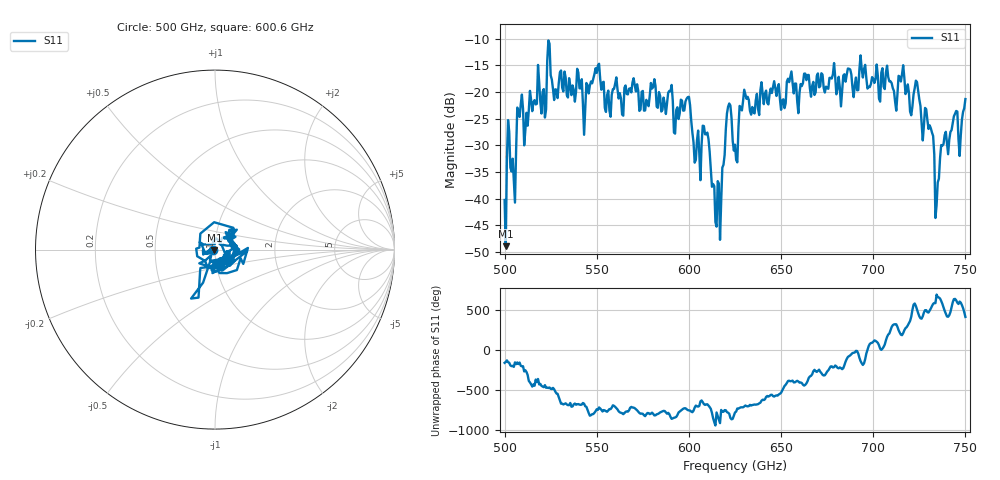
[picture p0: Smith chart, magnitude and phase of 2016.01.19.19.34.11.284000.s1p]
!Created with skrf (http://scikit-rf.org).
# GHz S RI R 50.0
!freq ReS11 ImS11
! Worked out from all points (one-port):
!   401 points, 500 GHz to 750 GHz, reference 50 ohm
!   lowest |S11| = -48.9 dB at 500.6 GHz (marker M1), VSWR 1.01, Z = 49.7 - j0.174 ohm
!   |S11| at or under -10 dB: start of sweep to end of sweep
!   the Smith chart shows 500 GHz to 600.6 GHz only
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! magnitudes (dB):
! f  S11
! 500 GHz  -40.2
! 500.6 GHz  -48.9
! 502.5 GHz  -27.5
! 505 GHz  -36.5
! 508.1 GHz  -24.7
! 521.2 GHz  -19.5
! 524.4 GHz  -11.0
! 527.5 GHz  -19.5
! 531.2 GHz  -19.2
! 543.8 GHz  -23.0
! 550 GHz  -16.4
! 562.5 GHz  -20.2
! 580.6 GHz  -19.1
! 593.8 GHz  -22.9
! 599.4 GHz  -21.0
! 605 GHz  -27.2
! 608.8 GHz  -27.9
! 615.6 GHz  -36.7
! 621.2 GHz  -22.8
! 625 GHz  -29.9
! 630.6 GHz  -20.4
! 656.2 GHz  -18.3
! 687.5 GHz  -15.8
! 718.8 GHz  -18.6
! 729.4 GHz  -25.3
! 735 GHz  -36.9
! 738.1 GHz  -29.8
! 750 GHz  -21.3
